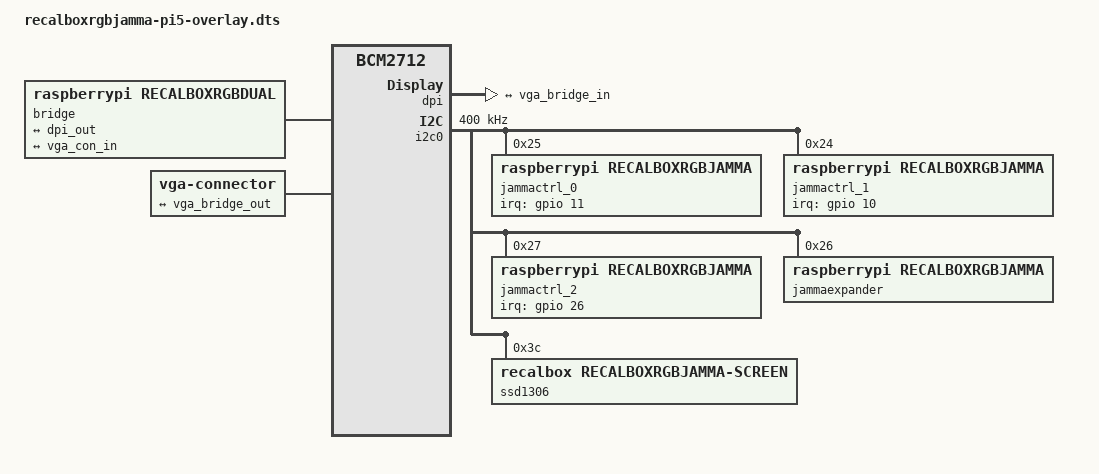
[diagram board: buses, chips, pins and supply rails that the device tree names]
/dts-v1/;
/plugin/;

/ {
	compatible = "brcm,bcm2712";
	fragment@0 {
		target = <&gpio>;
		__overlay__ {
		irq_gpio_11: irq_gpio_11_conf {
			brcm,pins = <11>; // GPIO 11
			brcm,function = <0>; // Input
			brcm,pull = <2>; // Pull up
		};
		irq_gpio_10: irq_gpio_10_conf {
			brcm,pins = <10>; // GPIO 10
			brcm,function = <0>; // Input
			brcm,pull = <2>; // Pull up
		};
		irq_gpio_26: irq_gpio_26_conf {
			brcm,pins = <26>; // GPIO 26
			brcm,function = <0>; // Input
			brcm,pull = <2>; // Pull up
		};
		};
	};

	fragment@1 {
		target-path = "/";
		__overlay__ {

			bridge: recalboxrgbjamma {
				compatible = "raspberrypi,recalboxrgbdual";
				#address-cells = <1>;
				#size-cells = <0>;

				vc4-vga666-mode = <6>;
				recalbox-rgb-jamma = <1>;
				avoid_interlaced = <1>;

				ports {
					#address-cells = <1>;
					#size-cells = <0>;

					port@0 {
						reg = <0>;

						vga_bridge_in: endpoint {
							remote-endpoint = <&dpi_out>;
						};
					};

					port@1 {
						reg = <1>;

						vga_bridge_out: endpoint {
							remote-endpoint = <&vga_con_in>;
						};
					};
				};
			};

			vga {
				compatible = "vga-connector";

				port {
					vga_con_in: endpoint {
						remote-endpoint = <&vga_bridge_out>;
					};
				};
			};
		};
	};

	fragment@2 {
		target = <&dpi>;
		__overlay__  {
			status = "okay";
			pinctrl-names = "default";
			pinctrl-0 = <&vga666_mode6_pins>;
			port {
				dpi_out: endpoint@0 {
					remote-endpoint = <&vga_bridge_in>;
				};
			};
		};
	};

	fragment@4 {
		target = <&gpio>;
		__overlay__ {
			vga666_mode6_pins: vga666_mode6_pins {
				brcm,pins = <2 3
				      4  5  6  7  8  9
				      12 13 14 15 16 17
				      20 21 22 23 24 25>;
				brcm,function = <6>;
				brcm,pull = <0>;
			};
		};
	};

    fragment@50 {
        target = <&rp1_gpio>;
        __overlay__ {
            rp1_i2s0_jamma: rp1_i2s0_jamma {
                function = "i2s0";
                pins = "gpio18", "gpio19", "gpio27";
                bias-disable;
            };
        };
    };
    fragment@51 {
        target = <&i2s_clk_producer>;
        __overlay__ {
            #sound-dai-cells = <0>;
            pinctrl-names = "default";
            pinctrl-0 = <&rp1_i2s0_jamma>;
            status = "okay";
        };
    };

	fragment@5 {
		target = <&sound>;
		__overlay__ {
			compatible = "simple-audio-card";
			simple-audio-card,name = "Recalbox RGB JAMMA";
			status = "okay";
			simple-audio-card,dai-link@1 {
				format = "i2s";
				cpu {
					sound-dai = <&i2s_clk_producer>;
					dai-tdm-slot-num = <2>;
					dai-tdm-slot-width = <32>;
				};
				codec {
					sound-dai = <&codec_out>;
				};
			};
		};
	};

	fragment@6 {
		target-path = "/";
		__overlay__ {
			codec_out: recalbox_i2s {
				#sound-dai-cells = <0>;
				compatible = "recalbox_i2s";
				status = "okay";
			};
		};
	};

  fragment@8 {
    target = <&i2c0>;
    __overlay__ {
      status = "okay";
      pinctrl-names = "default";
      pinctrl-0 = <&rp1_i2c0_0_1>;
      clock-frequency = <400000>;
      read-timeout-ms = <50>;

      jammactrl_0: jammactrl_0@25 {
        compatible = "raspberrypi,recalboxrgbjamma";
        reg = <0x25>;
        status = "okay";
        pinctrl-names = "default";
        pinctrl-0 = <&irq_gpio_11>;
        interrupt-parent = <&gpio>;
        interrupts = <11 2>;
        irq-gpios = <&gpio 11 0>;
      };
      jammactrl_1: jammactrl_1@24 {
        compatible = "raspberrypi,recalboxrgbjamma";
        reg = <0x24>;
        status = "okay";
        pinctrl-names = "default";
        pinctrl-0 = <&irq_gpio_10>;
        interrupt-parent = <&gpio>;
        interrupts = <10 2>;
        irq-gpios = <&gpio 10 0>;
      };
      jammactrl_2: jammactrl_2@27 {
        compatible = "raspberrypi,recalboxrgbjamma";
        reg = <0x27>;
        status = "okay";
        pinctrl-names = "default";
        pinctrl-0 = <&irq_gpio_26>;
        interrupt-parent = <&gpio>;
        interrupts = <26 2>;
        irq-gpios = <&gpio 26 0>;
      };
      jammaexpander: jammaexpander@26 {
        compatible = "raspberrypi,recalboxrgbjamma";
        is_pi5 = <1>;
        reg = <0x26>;
        status = "okay";
      };
      ssd1306: ssd1306@3c {
        compatible = "recalbox,recalboxrgbjamma-screen";
        reg = <0x3c>;
      };
    };
  };


};
